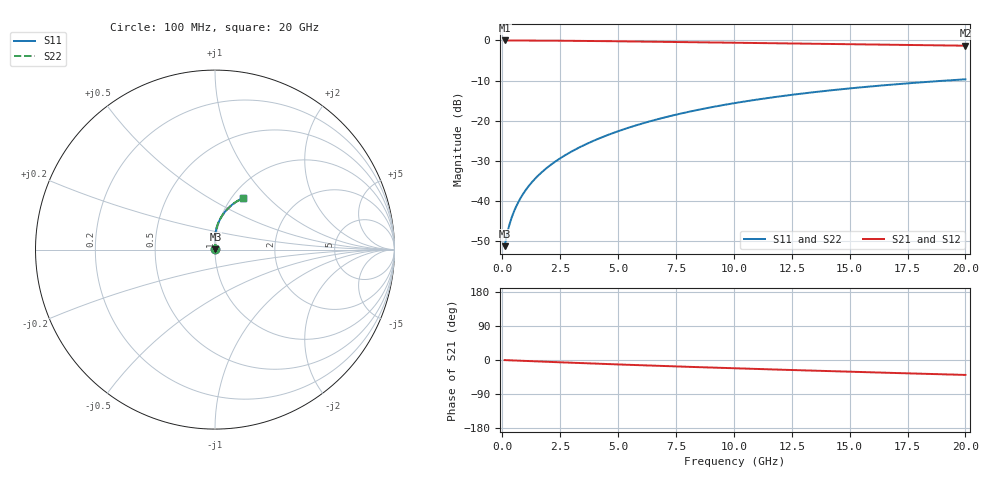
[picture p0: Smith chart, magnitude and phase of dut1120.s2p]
! Touchstone file exported from HFSS 2024.1.0
!  File:  C:/UserFiles/LocalFiles/RDL_TSV_Batchsim/temp_RDL_bottom_1120_1780054814.aedt
!  Generated:  07:44:58 PM May 29, 2026
!  Design:  RDL_bottom
!  Project:  temp_RDL_bottom_1120_1780054814
!  Setup:  Setup1
!  Solution:  Sweep
! Variables:
!  dtsv = 10.80580581um
!  hbump = 3um
!  htsv = 87.63um
!  ldown = 552.59um
!  lrdl = 100um
!  p = 40
!  p1 = 57.56um
!  rhole = 1um
!  t = 450um
!  tdown = 3.33um
!  trdl = 3.915915916um
!  wdown = 29.14um
!  wrdl = 20um
# GHz S MA R 50.000000
! Terminal data exported
! Port[1] = RDL1_T1
! Port[2] = RDL1_T2
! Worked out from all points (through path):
!   200 points, 100 MHz to 20 GHz, reference 50 ohm
!   highest |S21| = -0.02 dB at 100 MHz (marker M1); lowest = -1.3 dB at 20 GHz (marker M2)
!   group delay of S21, straight-line fit = 5.39 ps
!   lowest |S11| = -51.2 dB at 100 MHz (marker M3), VSWR 1.01, Z = 50.2 + j0.154 ohm
!   |S11| at or under -10 dB: start of sweep to 19.16 GHz
!   |S22| runs from -51.2 to -9.7 dB; largest |S21 - S12| = 3.8e-15
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0.1  0.002753 33.7  0.9977 -0.3  0.9977 -0.3  0.002753 33.7
! Gamma 0 0 0 0
! Port Impedance 50 0 50 0
0.2  0.003831 50.5  0.9975 -0.5  0.9975 -0.5  0.003831 50.5
0.3  0.005003 59.2  0.9973 -0.8  0.9973 -0.8  0.005003 59.2
0.4  0.006186 64.6  0.9971 -1.0  0.9971 -1.0  0.006187 64.6
0.5  0.00738 68.6  0.9969 -1.2  0.9969 -1.2  0.007381 68.6
0.6  0.00859 71.6  0.9967 -1.5  0.9967 -1.5  0.00859 71.6
0.8  0.01106 75.9  0.9963 -2.0  0.9963 -2.0  0.01106 75.9
1.1  0.01488 80.1  0.9957 -2.7  0.9957 -2.7  0.01488 80.1
1.3  0.01749 82.0  0.9951 -3.2  0.9951 -3.2  0.01749 82.0
1.6  0.02149 84.1  0.9942 -3.9  0.9942 -3.9  0.02149 84.1
2.1  0.02839 86.4  0.9922 -5.1  0.9922 -5.1  0.02839 86.4
2.7  0.03706 88.1  0.9893 -6.5  0.9893 -6.5  0.03706 88.1
3.5  0.04928 89.2  0.9847 -8.4  0.9847 -8.4  0.04928 89.2
4.2  0.06057 89.5  0.98 -10.0  0.98 -10.0  0.06057 89.5
5  0.07408 89.2  0.9742 -11.7  0.9742 -11.7  0.07408 89.2
6.8  0.1062 87.2  0.9602 -15.5  0.9602 -15.5  0.1062 87.2
8.4  0.1357 84.5  0.9475 -18.7  0.9475 -18.7  0.1357 84.4
10.1  0.1671 81.1  0.934 -22.0  0.934 -22.0  0.167 81.1
11.7  0.196 77.8  0.9215 -25.0  0.9215 -25.0  0.196 77.7
13.4  0.2258 74.2  0.9084 -28.1  0.9084 -28.1  0.2257 74.2
16.7  0.2797 67.6  0.8833 -33.8  0.8833 -33.8  0.2796 67.5
20  0.328 61.4  0.8588 -39.4  0.8588 -39.4  0.3278 61.3
